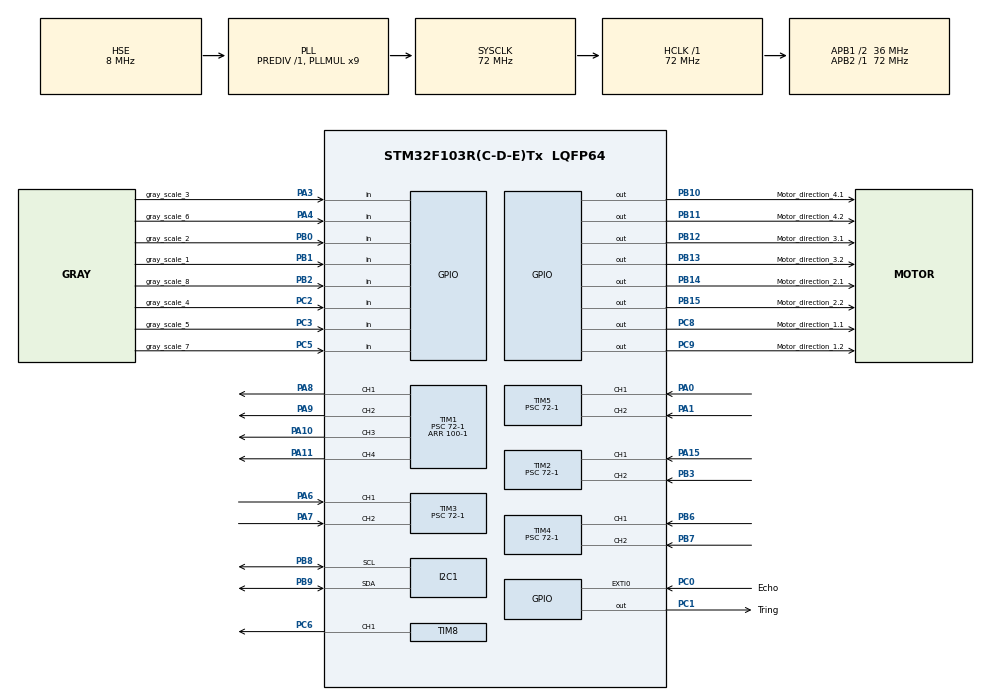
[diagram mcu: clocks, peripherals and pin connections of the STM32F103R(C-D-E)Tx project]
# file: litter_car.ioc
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Mcu.Family=STM32F1
Mcu.Name=STM32F103R(C-D-E)Tx
Mcu.Package=LQFP64
NVIC.EXTI0_IRQn=true\:0\:0\:false\:false\:true\:true\:true\:true
NVIC.PriorityGroup=NVIC_PRIORITYGROUP_4
PA0-WKUP.Signal=S_TIM5_CH1
PA1.Signal=S_TIM5_CH2
PA10.Signal=S_TIM1_CH3
PA11.Signal=S_TIM1_CH4
PA13.Mode=Serial_Wire
PA13.Signal=SYS_JTMS-SWDIO
PA14.Mode=Serial_Wire
PA14.Signal=SYS_JTCK-SWCLK
PA15.Signal=S_TIM2_CH1_ETR
PA3.GPIO_Label=gray_scale_3
PA3.Signal=GPIO_Input
PA4.GPIO_Label=gray_scale_6
PA4.Signal=GPIO_Input
PA6.Signal=S_TIM3_CH1
PA7.Signal=S_TIM3_CH2
PA8.Signal=S_TIM1_CH1
PA9.Signal=S_TIM1_CH2
PB0.GPIO_Label=gray_scale_2
PB0.Signal=GPIO_Input
PB1.GPIO_Label=gray_scale_1
PB1.Signal=GPIO_Input
PB10.GPIO_Label=Motor_direction_4.1
PB10.GPIO_Speed=GPIO_SPEED_FREQ_HIGH
PB10.Signal=GPIO_Output
PB11.GPIO_Label=Motor_direction_4.2
PB11.GPIO_Speed=GPIO_SPEED_FREQ_HIGH
PB11.Signal=GPIO_Output
PB12.GPIO_Label=Motor_direction_3.1
PB12.GPIO_Speed=GPIO_SPEED_FREQ_HIGH
PB12.Signal=GPIO_Output
PB13.GPIO_Label=Motor_direction_3.2
PB13.GPIO_Speed=GPIO_SPEED_FREQ_HIGH
PB13.Signal=GPIO_Output
PB14.GPIO_Label=Motor_direction_2.1
PB14.GPIO_Speed=GPIO_SPEED_FREQ_HIGH
PB14.Signal=GPIO_Output
PB15.GPIO_Label=Motor_direction_2.2
PB15.GPIO_Speed=GPIO_SPEED_FREQ_HIGH
PB15.Signal=GPIO_Output
PB2.GPIO_Label=gray_scale_8
PB2.Signal=GPIO_Input
PB3.Signal=S_TIM2_CH2
PB6.Signal=S_TIM4_CH1
PB7.Signal=S_TIM4_CH2
PB8.Mode=I2C
PB8.Signal=I2C1_SCL
PB9.Mode=I2C
PB9.Signal=I2C1_SDA
PC0.GPIO_Label=Echo
PC0.GPIO_ModeDefaultEXTI=GPIO_MODE_IT_RISING
PC0.GPIO_PuPd=GPIO_PULLDOWN
PC0.Signal=GPXTI0
PC1.GPIO_Label=Tring
PC1.GPIO_ModeDefaultOutputPP=GPIO_MODE_OUTPUT_PP
PC1.GPIO_PuPd=GPIO_PULLDOWN
PC1.GPIO_Speed=GPIO_SPEED_FREQ_HIGH
PC1.Signal=GPIO_Output
PC2.GPIO_Label=gray_scale_4
PC2.Signal=GPIO_Input
PC3.GPIO_Label=gray_scale_5
PC3.Signal=GPIO_Input
PC5.GPIO_Label=gray_scale_7
PC5.Signal=GPIO_Input
PC6.Signal=S_TIM8_CH1
PC8.GPIO_Label=Motor_direction_1.1
PC8.GPIO_Speed=GPIO_SPEED_FREQ_HIGH
PC8.Signal=GPIO_Output
PC9.GPIO_Label=Motor_direction_1.2
PC9.Signal=GPIO_Output
PD0-OSC_IN.Mode=HSE-External-Oscillator
PD0-OSC_IN.Signal=RCC_OSC_IN
PD1-OSC_OUT.Mode=HSE-External-Oscillator
PD1-OSC_OUT.Signal=RCC_OSC_OUT
ProjectManager.HeapSize=0x200
ProjectManager.StackSize=0x400
ProjectManager.TargetToolchain=MDK-ARM V5.32
RCC.AHBFreq_Value=72000000
RCC.APB1CLKDivider=RCC_HCLK_DIV2
RCC.APB1Freq_Value=36000000
RCC.APB1TimFreq_Value=72000000
RCC.APB2Freq_Value=72000000
RCC.APB2TimFreq_Value=72000000
RCC.HCLKFreq_Value=72000000
RCC.PLLMUL=RCC_PLL_MUL9
RCC.PLLSourceVirtual=RCC_PLLSOURCE_HSE
RCC.SYSCLKFreq_VALUE=72000000
RCC.SYSCLKSource=RCC_SYSCLKSOURCE_PLLCLK
RCC.USBFreq_Value=72000000
SH.S_TIM1_CH1.0=TIM1_CH1,PWM Generation1 CH1
SH.S_TIM1_CH2.0=TIM1_CH2,PWM Generation2 CH2
SH.S_TIM1_CH3.0=TIM1_CH3,PWM Generation3 CH3
SH.S_TIM1_CH4.0=TIM1_CH4,PWM Generation4 CH4
SH.S_TIM2_CH1_ETR.0=TIM2_CH1,Encoder_Interface
SH.S_TIM2_CH2.0=TIM2_CH2,Encoder_Interface
SH.S_TIM3_CH1.0=TIM3_CH1,Encoder_Interface
SH.S_TIM3_CH2.0=TIM3_CH2,Encoder_Interface
SH.S_TIM4_CH1.0=TIM4_CH1,Encoder_Interface
SH.S_TIM4_CH2.0=TIM4_CH2,Encoder_Interface
SH.S_TIM5_CH1.0=TIM5_CH1,Encoder_Interface
SH.S_TIM5_CH2.0=TIM5_CH2,Encoder_Interface
SH.S_TIM8_CH1.0=TIM8_CH1,PWM Generation1 CH1
TIM1.AutoReloadPreload=TIM_AUTORELOAD_PRELOAD_ENABLE
TIM1.Channel-PWM\ Generation1\ CH1=TIM_CHANNEL_1
TIM1.Channel-PWM\ Generation2\ CH2=TIM_CHANNEL_2
TIM1.Channel-PWM\ Generation3\ CH3=TIM_CHANNEL_3
TIM1.Channel-PWM\ Generation4\ CH4=TIM_CHANNEL_4
TIM1.Period=100-1
TIM1.Prescaler=72-1
TIM2.AutoReloadPreload=TIM_AUTORELOAD_PRELOAD_ENABLE
TIM2.EncoderMode=TIM_ENCODERMODE_TI12
TIM2.IC1Polarity=TIM_ICPOLARITY_RISING
TIM2.IC2Polarity=TIM_ICPOLARITY_FALLING
TIM2.Period=65536-1
TIM2.Prescaler=72-1
TIM3.AutoReloadPreload=TIM_AUTORELOAD_PRELOAD_ENABLE
TIM3.EncoderMode=TIM_ENCODERMODE_TI12
TIM3.IC2Polarity=TIM_ICPOLARITY_FALLING
TIM3.Period=65536-1
TIM3.Prescaler=72-1
TIM4.AutoReloadPreload=TIM_AUTORELOAD_PRELOAD_ENABLE
TIM4.EncoderMode=TIM_ENCODERMODE_TI12
TIM4.IC2Polarity=TIM_ICPOLARITY_FALLING
TIM4.Period=65536-1
TIM4.Prescaler=72-1
TIM5.AutoReloadPreload=TIM_AUTORELOAD_PRELOAD_ENABLE
TIM5.EncoderMode=TIM_ENCODERMODE_TI12
TIM5.IC2Polarity=TIM_ICPOLARITY_FALLING
TIM5.Period=65536-1
TIM5.Prescaler=72-1
TIM6.AutoReloadPreload=TIM_AUTORELOAD_PRELOAD_ENABLE
TIM8.AutoReloadPreload=TIM_AUTORELOAD_PRELOAD_ENABLE
TIM8.Channel-PWM\ Generation1\ CH1=TIM_CHANNEL_1
TIM8.Period=20000-1
TIM8.Prescaler=72-1
VP_TIM1_VS_ClockSourceINT.Mode=Internal
VP_TIM6_VS_ClockSourceINT.Mode=Enable_Timer
VP_TIM8_VS_ClockSourceINT.Mode=Internal
board=custom

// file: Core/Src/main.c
/**
 *                    _ooOoo_
 *                   o8888888o
 *                   88" . "88
 *                   (| -_- |)
 *                    O\ = /O
 *                ____/`---'\____
 *              .   ' \\| |// `.
 *               / \\||| : |||// \
 *             / _||||| -:- |||||- \
 *               | | \\\ - /// | |
 *             | \_| ''\---/'' | |
 *              \ .-\__ `-` ___/-. /
 *           ___`. .' /--.--\ `. . __
 *        ."" '< `.___\_<|>_/___.' >'"".
 *       | | : `- \`.;`\ _ /`;.`/ - ` : | |
 *         \ \ `-. \_ __\ /__ _/ .-` / /
 * ======`-.____`-.___\_____/___.-`____.-'======
 *                    `=---='
 *
 * .............................................
 *          佛祖保佑             永无BUG
 */

/* USER CODE BEGIN Header */
/**
  ******************************************************************************
  * @file           : main.c
  * @brief          : Main program body
  ******************************************************************************
  * @attention
  *
  * Copyright (c) 2025 STMicroelectronics.
  * All rights reserved.
  *
  * This software is licensed under terms that can be found in the LICENSE file
  * in the root directory of this software component.
  * If no LICENSE file comes with this software, it is provided AS-IS.
  *
  ******************************************************************************
  */
/* USER CODE END Header */
#include "main.h"
#include "i2c.h"
#include "stm32f1xx_hal.h"
#include "stm32f1xx_hal_tim.h"
#include "tim.h"
#include "gpio.h"

/* USER CODE BEGIN Includes */
#include <OLED.h>
#include <stdint.h>
#include <encoder.h>
#include <motor.h>
#include <Servo.h>
#include "logic.h"
#include "HCSR04.h"
/* USER CODE END Includes */

/* USER CODE BEGIN PV */
uint32_t Enc_Count = 0; //某个马达的圈数
int speed = 0;          //某个马达的速度
uint16_t counteo=0;       //tim6定时器的值
/* USER CODE END PV */

void SystemClock_Config(void);

int main(void)
{

  /* USER CODE BEGIN 1 */

  //关联相关函数,初始化Encoder_information_t结构体对象
  Encoder_information_t encoderInfo;
  encoderInfo.getinfo = get_Encoder_info;
  encoderInfo.pritinfo = pri_Encoder_inf;

  // Motor_pwm_t Motorcontrol;
  // Motorcontrol.motornum = motor_;

  /* USER CODE END 1 */

  /* MCU Configuration--------------------------------------------------------*/

  /* Reset of all peripherals, Initializes the Flash interface and the Systick. */
  HAL_Init();

  /* Configure the system clock */
  SystemClock_Config();

  /* Initialize all configured peripherals */
  MX_GPIO_Init();
  MX_TIM1_Init();
  MX_I2C1_Init();
  MX_TIM2_Init();
  MX_TIM3_Init();
  MX_TIM4_Init();
  MX_TIM5_Init();
  MX_TIM6_Init();
  MX_TIM8_Init();
  /* USER CODE BEGIN 2 */
  HAL_TIM_PWM_Start(&htim1,TIM_CHANNEL_1);
  HAL_TIM_PWM_Start(&htim1,TIM_CHANNEL_2);
  HAL_TIM_PWM_Start(&htim1,TIM_CHANNEL_3);
  HAL_TIM_PWM_Start(&htim1,TIM_CHANNEL_4);
  HAL_TIM_PWM_Start(&htim8,TIM_CHANNEL_1);
  HAL_TIM_Encoder_Start(&htim2, TIM_CHANNEL_ALL); //启动编码器
  HAL_TIM_Encoder_Start(&htim3, TIM_CHANNEL_ALL); //启动编码器
  HAL_TIM_Encoder_Start(&htim4, TIM_CHANNEL_ALL); //启动编码器
  HAL_TIM_Encoder_Start(&htim5, TIM_CHANNEL_ALL); //启动编码器
	// OLED_Init();
  // OLED_Clear();
	//HAL_Delay(3000);
  OLED_Start_HCSR04();
  /* USER CODE END 2 */

  /* Infinite loop */
  /* USER CODE BEGIN WHILE */
  // int i = 0;

uint8_t flag_stop = 0;
uint8_t count = 0;
HAL_Delay(1000);

 while(count<=5) // 第一个三明治
 {
  OLED_Showdecimal(4,2,Gray_Offset_value(),6,0,16, 0);
  Sandwich_function_01(20);
        if (HAL_GPIO_ReadPin(gray_1) * HAL_GPIO_ReadPin(gray_8)) flag_stop = 1;
        if (flag_stop == 1)
        {
          while (1)
          {
                    OLED_Showdecimal(4,2,Gray_Offset_value(),6,0,16, 0);
                    Sandwich_function_01(20);
                    if ((1 - HAL_GPIO_ReadPin(gray_1)) * (1 - HAL_GPIO_ReadPin(gray_8))) {
                    count++;
                    flag_stop = 0;
                    break;
                    }

          }
    }
    if(count == 3 || count ==4) {
                Turn_round(20, 0, 3);
                HAL_Delay(300);
                Turn_round(0, 0, 5);
                Turn_round(0, 0, 5);
                HAL_GPIO_WritePin(LED_ON_GPIO_Port,LED_ON_Pin,1);
                HAL_Delay(3000);
                HAL_GPIO_WritePin(LED_ON_GPIO_Port,LED_ON_Pin,0);
    }
    if (count == 5)
    {
                Turn_round(0, 0, 5);
                break;
    }
 }
 // 这里不要加Delay
Sandwich_function_02(18);
Sandwich_function_03(20);

  while (1)
  {
    /* USER CODE END WHILE */

  }
}

void SystemClock_Config(void)
{
  RCC_OscInitTypeDef RCC_OscInitStruct = {0};
  RCC_ClkInitTypeDef RCC_ClkInitStruct = {0};

  /** Initializes the RCC Oscillators according to the specified parameters
  * in the RCC_OscInitTypeDef structure.
  */
  RCC_OscInitStruct.OscillatorType = RCC_OSCILLATORTYPE_HSE;
  RCC_OscInitStruct.HSEState = RCC_HSE_ON;
  RCC_OscInitStruct.HSEPredivValue = RCC_HSE_PREDIV_DIV1;
  RCC_OscInitStruct.HSIState = RCC_HSI_ON;
  RCC_OscInitStruct.PLL.PLLState = RCC_PLL_ON;
  RCC_OscInitStruct.PLL.PLLSource = RCC_PLLSOURCE_HSE;
  RCC_OscInitStruct.PLL.PLLMUL = RCC_PLL_MUL9;
  if (HAL_RCC_OscConfig(&RCC_OscInitStruct) != HAL_OK)
  {
    Error_Handler();
  }

  /** Initializes the CPU, AHB and APB buses clocks
  */
  RCC_ClkInitStruct.ClockType = RCC_CLOCKTYPE_HCLK|RCC_CLOCKTYPE_SYSCLK
                              |RCC_CLOCKTYPE_PCLK1|RCC_CLOCKTYPE_PCLK2;
  RCC_ClkInitStruct.SYSCLKSource = RCC_SYSCLKSOURCE_PLLCLK;
  RCC_ClkInitStruct.AHBCLKDivider = RCC_SYSCLK_DIV1;
  RCC_ClkInitStruct.APB1CLKDivider = RCC_HCLK_DIV2;
  RCC_ClkInitStruct.APB2CLKDivider = RCC_HCLK_DIV1;

  if (HAL_RCC_ClockConfig(&RCC_ClkInitStruct, FLASH_LATENCY_2) != HAL_OK)
  {
    Error_Handler();
  }
}

void Error_Handler(void)
{
  __disable_irq();
  while (1)
  {
  }
}
